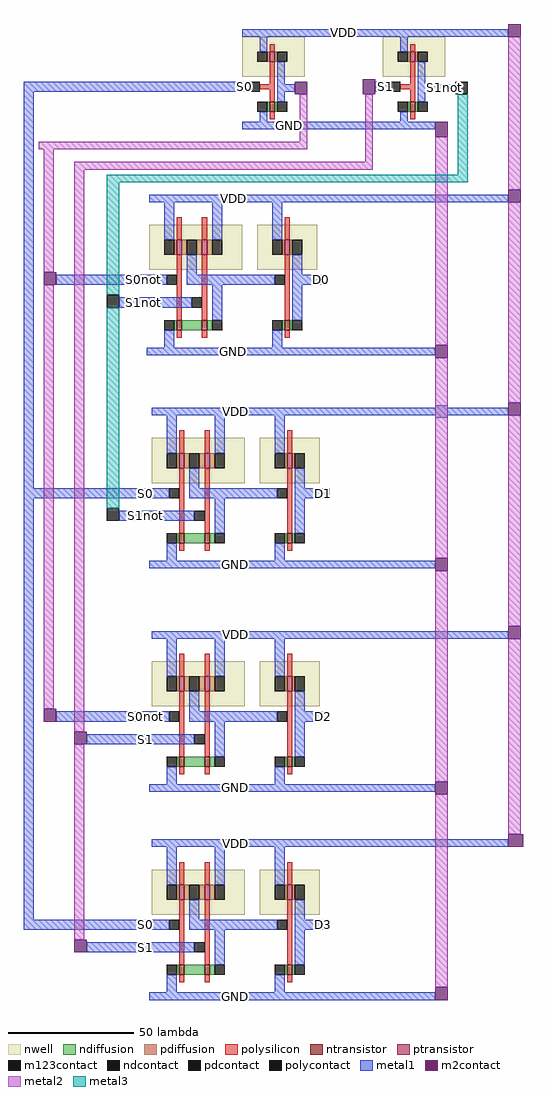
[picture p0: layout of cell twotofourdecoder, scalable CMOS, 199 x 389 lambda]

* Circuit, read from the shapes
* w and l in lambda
.subckt twotofourdecoder D0 D1 D2 D3 GND S0 S0not S1 S1not VDD
M1 n1 S0not GND VSUBS nfet w=4 l=2
M2 n2 S0 GND VSUBS nfet w=4 l=2
M3 n3 S0not GND VSUBS nfet w=4 l=2
M4 n4 S0 GND VSUBS nfet w=4 l=2
M5 n5 S1not n1 VSUBS nfet w=4 l=2
M6 n6 S1 n2 VSUBS nfet w=4 l=2
M7 n7 S1 n3 VSUBS nfet w=4 l=2
M8 n8 S1not n4 VSUBS nfet w=4 l=2
M9 S0not S0 GND VSUBS nfet w=4 l=2
M10 D0 n5 GND VSUBS nfet w=4 l=2
M11 D3 n6 GND VSUBS nfet w=4 l=2
M12 D2 n7 GND VSUBS nfet w=4 l=2
M13 D1 n8 GND VSUBS nfet w=4 l=2
M14 S1not S1 GND VSUBS nfet w=4 l=2
M15 n5 S0not VDD n9 pfet w=6 l=2
M16 n6 S0 VDD n10 pfet w=6 l=2
M17 n7 S0not VDD n11 pfet w=6 l=2
M18 n8 S0 VDD n12 pfet w=6 l=2
M19 VDD S1not n5 n9 pfet w=6 l=2
M20 VDD S1 n6 n10 pfet w=6 l=2
M21 VDD S1 n7 n11 pfet w=6 l=2
M22 VDD S1not n8 n12 pfet w=6 l=2
M23 S0not S0 VDD n13 pfet w=4 l=2
M24 D0 n5 VDD n14 pfet w=6 l=2
M25 D3 n6 VDD n15 pfet w=6 l=2
M26 D2 n7 VDD n16 pfet w=6 l=2
M27 D1 n8 VDD n17 pfet w=6 l=2
M28 S1not S1 VDD n18 pfet w=4 l=2
.ends

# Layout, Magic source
magic
tech scmos
<< nwell >>
rect 50 25 75 41
rect 106 25 131 41
rect 13 -52 50 -34
rect 56 -52 80 -34
rect 14 -137 51 -119
rect 57 -137 81 -119
rect 14 -226 51 -208
rect 57 -226 81 -208
rect 14 -309 51 -291
rect 57 -309 81 -291
<< ntransistor >>
rect 61 11 63 15
rect 117 11 119 15
rect 24 -76 26 -72
rect 34 -76 36 -72
rect 67 -76 69 -72
rect 25 -161 27 -157
rect 35 -161 37 -157
rect 68 -161 70 -157
rect 25 -250 27 -246
rect 35 -250 37 -246
rect 68 -250 70 -246
rect 25 -333 27 -329
rect 35 -333 37 -329
rect 68 -333 70 -329
<< ptransistor >>
rect 61 31 63 35
rect 117 31 119 35
rect 24 -46 26 -40
rect 34 -46 36 -40
rect 67 -46 69 -40
rect 25 -131 27 -125
rect 35 -131 37 -125
rect 68 -131 70 -125
rect 25 -220 27 -214
rect 35 -220 37 -214
rect 68 -220 70 -214
rect 25 -303 27 -297
rect 35 -303 37 -297
rect 68 -303 70 -297
<< ndiffusion >>
rect 60 11 61 15
rect 63 11 64 15
rect 116 11 117 15
rect 119 11 120 15
rect 23 -76 24 -72
rect 26 -76 34 -72
rect 36 -76 38 -72
rect 66 -76 67 -72
rect 69 -76 70 -72
rect 24 -161 25 -157
rect 27 -161 35 -157
rect 37 -161 39 -157
rect 67 -161 68 -157
rect 70 -161 71 -157
rect 24 -250 25 -246
rect 27 -250 35 -246
rect 37 -250 39 -246
rect 67 -250 68 -246
rect 70 -250 71 -246
rect 24 -333 25 -329
rect 27 -333 35 -329
rect 37 -333 39 -329
rect 67 -333 68 -329
rect 70 -333 71 -329
<< pdiffusion >>
rect 60 31 61 35
rect 63 31 64 35
rect 116 31 117 35
rect 119 31 120 35
rect 23 -46 24 -40
rect 26 -46 28 -40
rect 32 -46 34 -40
rect 36 -46 38 -40
rect 66 -46 67 -40
rect 69 -46 70 -40
rect 24 -131 25 -125
rect 27 -131 29 -125
rect 33 -131 35 -125
rect 37 -131 39 -125
rect 67 -131 68 -125
rect 70 -131 71 -125
rect 24 -220 25 -214
rect 27 -220 29 -214
rect 33 -220 35 -214
rect 37 -220 39 -214
rect 67 -220 68 -214
rect 70 -220 71 -214
rect 24 -303 25 -297
rect 27 -303 29 -297
rect 33 -303 35 -297
rect 37 -303 39 -297
rect 67 -303 68 -297
rect 70 -303 71 -297
<< ndcontact >>
rect 56 11 60 15
rect 64 11 68 15
rect 112 11 116 15
rect 120 11 124 15
rect 19 -76 23 -72
rect 38 -76 42 -72
rect 62 -76 66 -72
rect 70 -76 74 -72
rect 20 -161 24 -157
rect 39 -161 43 -157
rect 63 -161 67 -157
rect 71 -161 75 -157
rect 20 -250 24 -246
rect 39 -250 43 -246
rect 63 -250 67 -246
rect 71 -250 75 -246
rect 20 -333 24 -329
rect 39 -333 43 -329
rect 63 -333 67 -329
rect 71 -333 75 -329
<< pdcontact >>
rect 56 31 60 35
rect 64 31 68 35
rect 112 31 116 35
rect 120 31 124 35
rect 19 -46 23 -40
rect 28 -46 32 -40
rect 38 -46 42 -40
rect 62 -46 66 -40
rect 70 -46 74 -40
rect 20 -131 24 -125
rect 29 -131 33 -125
rect 39 -131 43 -125
rect 63 -131 67 -125
rect 71 -131 75 -125
rect 20 -220 24 -214
rect 29 -220 33 -214
rect 39 -220 43 -214
rect 63 -220 67 -214
rect 71 -220 75 -214
rect 20 -303 24 -297
rect 29 -303 33 -297
rect 39 -303 43 -297
rect 63 -303 67 -297
rect 71 -303 75 -297
<< polysilicon >>
rect 61 35 63 38
rect 117 35 119 38
rect 61 22 63 31
rect 57 20 63 22
rect 61 15 63 20
rect 117 22 119 31
rect 113 20 119 22
rect 117 15 119 20
rect 61 8 63 11
rect 117 8 119 11
rect 24 -40 26 -31
rect 34 -40 36 -31
rect 67 -40 69 -31
rect 24 -72 26 -46
rect 34 -72 36 -46
rect 67 -72 69 -46
rect 24 -79 26 -76
rect 34 -79 36 -76
rect 67 -79 69 -76
rect 25 -125 27 -116
rect 35 -125 37 -116
rect 68 -125 70 -116
rect 25 -157 27 -131
rect 35 -157 37 -131
rect 68 -157 70 -131
rect 25 -164 27 -161
rect 35 -164 37 -161
rect 68 -164 70 -161
rect 25 -214 27 -205
rect 35 -214 37 -205
rect 68 -214 70 -205
rect 25 -246 27 -220
rect 35 -246 37 -220
rect 68 -246 70 -220
rect 25 -253 27 -250
rect 35 -253 37 -250
rect 68 -253 70 -250
rect 25 -297 27 -288
rect 35 -297 37 -288
rect 68 -297 70 -288
rect 25 -329 27 -303
rect 35 -329 37 -303
rect 68 -329 70 -303
rect 25 -336 27 -333
rect 35 -336 37 -333
rect 68 -336 70 -333
<< polycontact >>
rect 53 19 57 23
rect 109 19 113 23
rect 20 -58 24 -54
rect 30 -67 34 -63
rect 63 -58 67 -54
rect 21 -143 25 -139
rect 31 -152 35 -148
rect 64 -143 68 -139
rect 21 -232 25 -228
rect 31 -241 35 -237
rect 64 -232 68 -228
rect 21 -315 25 -311
rect 31 -324 35 -320
rect 64 -315 68 -311
<< metal1 >>
rect 50 41 156 44
rect 57 35 60 41
rect 113 35 116 41
rect -37 19 53 23
rect 64 22 67 31
rect 64 19 71 22
rect -37 -139 -33 19
rect 64 15 67 19
rect 103 19 109 23
rect 120 22 123 31
rect 120 19 135 22
rect 120 15 123 19
rect 57 7 60 11
rect 113 7 116 11
rect 50 4 127 7
rect 13 -25 156 -22
rect 19 -40 23 -25
rect 38 -40 42 -25
rect 62 -40 66 -25
rect 28 -54 32 -46
rect 70 -54 74 -46
rect -24 -58 20 -54
rect 28 -58 63 -54
rect 70 -58 84 -54
rect 1 -67 30 -63
rect 38 -72 42 -58
rect 70 -72 74 -58
rect 19 -83 23 -76
rect 62 -83 66 -76
rect 12 -86 127 -83
rect 127 -107 132 -106
rect 14 -110 156 -107
rect 20 -125 24 -110
rect 39 -125 43 -110
rect 63 -125 67 -110
rect 127 -111 132 -110
rect 29 -139 33 -131
rect 71 -139 75 -131
rect -37 -143 21 -139
rect 29 -143 64 -139
rect 71 -143 85 -139
rect -37 -311 -33 -143
rect 1 -152 31 -148
rect 39 -157 43 -143
rect 71 -157 75 -143
rect 20 -168 24 -161
rect 63 -168 67 -161
rect 13 -171 127 -168
rect 14 -199 156 -196
rect 20 -214 24 -199
rect 39 -214 43 -199
rect 63 -214 67 -199
rect 29 -228 33 -220
rect 71 -228 75 -220
rect -24 -232 21 -228
rect 29 -232 64 -228
rect 71 -232 85 -228
rect -12 -241 31 -237
rect 39 -246 43 -232
rect 71 -246 75 -232
rect 20 -257 24 -250
rect 63 -257 67 -250
rect 13 -260 127 -257
rect 14 -282 156 -279
rect 20 -297 24 -282
rect 39 -297 43 -282
rect 63 -297 67 -282
rect 29 -311 33 -303
rect 71 -311 75 -303
rect -37 -315 21 -311
rect 29 -315 64 -311
rect 71 -315 85 -311
rect -12 -324 31 -320
rect 39 -329 43 -315
rect 71 -329 75 -315
rect 20 -340 24 -333
rect 63 -340 67 -333
rect 13 -343 127 -340
<< m2contact >>
rect 156 41 161 46
rect 71 18 76 23
rect 98 18 103 24
rect 127 1 132 7
rect 156 -25 161 -20
rect -29 -58 -24 -53
rect 127 -87 132 -82
rect 156 -110 161 -105
rect 127 -172 132 -167
rect 156 -199 161 -194
rect -29 -232 -24 -227
rect -17 -241 -12 -236
rect 127 -261 132 -256
rect 156 -282 162 -277
rect -17 -324 -12 -319
rect 127 -343 132 -338
<< metal2 >>
rect 73 -1 76 18
rect -31 -4 76 -1
rect -29 -53 -25 -4
rect 99 -9 102 18
rect -17 -12 102 -9
rect -29 -227 -25 -58
rect -17 -236 -13 -12
rect 127 -82 132 1
rect 127 -167 132 -87
rect -17 -319 -13 -241
rect 127 -256 132 -172
rect 127 -338 132 -261
rect 156 -20 161 41
rect 156 -105 161 -25
rect 156 -194 161 -110
rect 156 -277 161 -199
<< m123contact >>
rect 135 18 140 23
rect -4 -67 1 -62
rect -4 -152 1 -147
<< metal3 >>
rect 136 -14 140 18
rect -4 -17 140 -14
rect -4 -62 1 -17
rect -4 -147 1 -67
<< labels >>
rlabel metal1 105 19 109 23 1 S1
rlabel metal1 49 19 53 23 3 S0
rlabel metal1 50 41 131 44 5 VDD
rlabel metal1 13 -25 80 -22 1 VDD
rlabel metal1 14 -110 81 -107 1 VDD
rlabel metal1 14 -199 81 -196 1 VDD
rlabel metal1 13 -171 82 -168 1 GND
rlabel metal1 13 -260 82 -257 1 GND
rlabel metal1 79 -58 84 -54 1 D0
rlabel metal1 80 -143 85 -139 1 D1
rlabel metal1 13 -343 82 -340 1 GND
rlabel metal1 14 -282 81 -279 1 VDD
rlabel metal1 80 -232 85 -228 1 D2
rlabel metal1 80 -315 85 -311 1 D3
rlabel metal1 12 -86 81 -83 1 GND
rlabel metal1 67 4 71 7 1 GND
rlabel metal1 8 -58 13 -54 3 S0not
rlabel metal1 9 -315 14 -311 3 S0
rlabel metal1 9 -324 14 -320 3 S1
rlabel metal1 9 -241 14 -237 3 S1
rlabel metal1 9 -232 14 -228 3 S0not
rlabel metal1 9 -152 14 -148 3 S1not
rlabel metal1 9 -143 14 -139 3 S0
rlabel metal1 8 -67 13 -63 3 S1not
rlabel metal1 129 19 132 22 1 S1not
<< end >>
